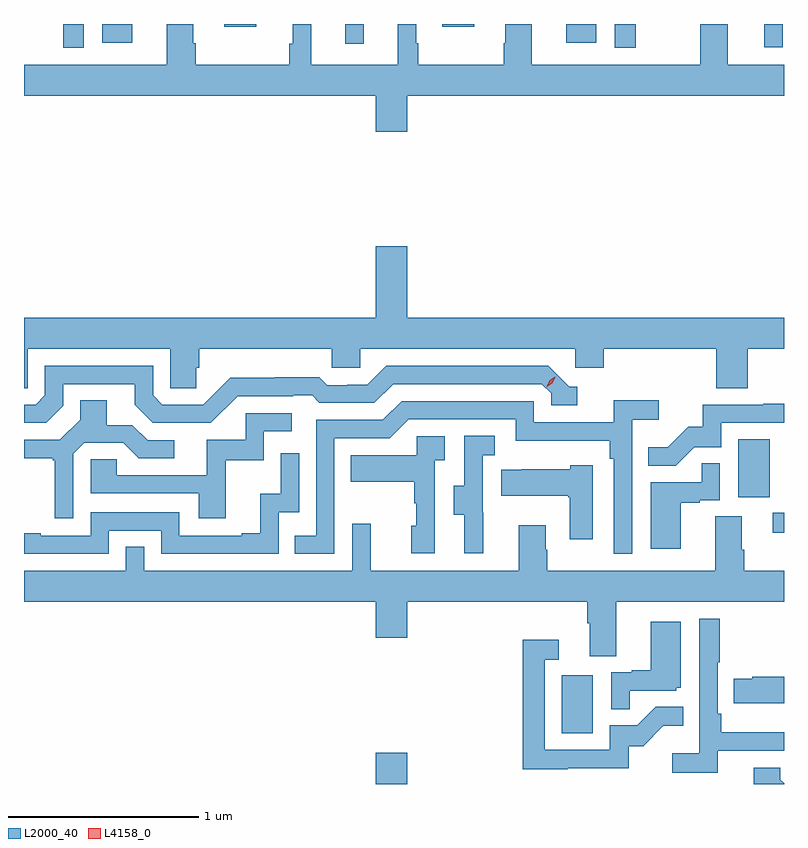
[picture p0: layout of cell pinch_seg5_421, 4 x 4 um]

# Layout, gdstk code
import gdstk
lib = gdstk.Library(unit=1e-6, precision=1e-09)
def R(c, l, rs):  # rectangles x0, y0, x1, y1
    for r in rs: c.add(gdstk.rectangle(r[:2], r[2:], *l))
def P(c, l, *ps):  # polygons
    for p in ps: c.add(gdstk.Polygon(p, *l))
L2000_40 = (2000, 40)
L4158_0 = (4158, 0)

pinch_seg5_421 = lib.new_cell('pinch_seg5_421')
R(pinch_seg5_421, L2000_40, [(956.216,855.802,956.38,855.967), (957.194,856.068,957.358,856.375), (958.305,857.124,958.364,857.229), (958.124,857.31,958.288,857.617), (954.57,859.677,954.678,859.802), (957.474,859.677,957.583,859.802), (958.259,859.68,958.357,859.802), (956.054,859.698,956.151,859.802), (954.776,859.704,954.934,859.802), (957.218,859.704,957.376,859.802), (955.419,859.788,955.587,859.802), (956.565,859.788,956.734,859.802)])
P(pinch_seg5_421, L2000_40, [(955.115,859.802),(955.115,859.588),(954.364,859.588),(954.364,859.424),(956.216,859.424),(956.216,859.236),(956.38,859.236),(956.38,859.424),(958.364,859.424),(958.364,859.588),(958.069,859.588),(958.069,859.802),(957.922,859.802),(957.922,859.588),(957.037,859.588),(957.037,859.802),(956.897,859.802),(956.897,859.7),(956.89,859.7),(956.89,859.588),(956.44,859.588),(956.44,859.7),(956.428,859.7),(956.428,859.802),(956.33,859.802),(956.33,859.588),(955.877,859.588),(955.877,859.802),(955.778,859.802),(955.778,859.697),(955.759,859.697),(955.759,859.588),(955.268,859.588),(955.268,859.7),(955.255,859.7),(955.255,859.802)],
  [(954.384,858.092),(955.134,858.092),(955.134,857.884),(955.271,857.884),(955.271,857.994),(955.286,857.994),(955.286,858.092),(955.983,858.092),(955.983,857.994),(956.133,857.994),(956.133,858.092),(957.264,858.092),(957.264,857.994),(957.416,857.994),(957.416,858.092),(958.007,858.092),(958.007,857.884),(958.172,857.884),(958.172,858.092),(958.364,858.092),(958.364,858.256),(956.38,858.256),(956.38,858.631),(956.216,858.631),(956.216,858.256),(954.364,858.256),(954.364,857.884),(954.384,857.884)],
  [(954.57,857.793),(954.57,857.907),(954.947,857.907),(954.947,857.797),(955.041,857.703),(955.347,857.703),(955.488,857.844),(955.781,857.844),(955.781,857.847),(955.88,857.847),(955.919,857.808),(956.208,857.808),(956.307,857.907),(957.09,857.907),(957.138,857.859),(957.138,857.796),(957.277,857.796),(957.277,857.892),(957.234,857.892),(957.123,858.003),(956.27,858.003),(956.171,857.904),(956.064,857.904),(956.064,857.901),(955.961,857.901),(955.919,857.944),(955.686,857.944),(955.686,857.941),(955.45,857.941),(955.308,857.799),(955.092,857.799),(955.044,857.847),(955.044,858.003),(954.474,858.003),(954.474,857.847),(954.426,857.799),(954.364,857.799),(954.364,857.703),(954.48,857.703)],
  [(954.624,857.541),(954.681,857.598),(954.887,857.598),(954.968,857.517),(955.156,857.517),(955.156,857.61),(955.014,857.61),(954.934,857.69),(954.799,857.69),(954.799,857.822),(954.659,857.822),(954.659,857.72),(954.552,857.613),(954.364,857.613),(954.364,857.516),(954.516,857.516),(954.516,857.505),(954.527,857.505),(954.527,857.202),(954.624,857.202)],
  [(955.998,857.622),(956.289,857.622),(956.388,857.721),(956.952,857.721),(956.952,857.609),(957.448,857.609),(957.448,857.513),(957.468,857.513),(957.468,857.013),(957.564,857.013),(957.564,857.72),(957.706,857.72),(957.706,857.822),(957.467,857.822),(957.467,857.706),(957.048,857.706),(957.048,857.817),(956.351,857.817),(956.252,857.718),(955.902,857.718),(955.902,857.109),(955.789,857.109),(955.789,857.013),(955.998,857.013)],
  [(957.891,857.574),(958.035,857.574),(958.035,857.703),(958.364,857.703),(958.364,857.804),(958.255,857.804),(958.255,857.799),(957.937,857.799),(957.937,857.682),(957.86,857.682),(957.753,857.575),(957.649,857.575),(957.649,857.476),(957.793,857.476)],
  [(955.427,857.505),(955.626,857.505),(955.626,857.658),(955.774,857.658),(955.774,857.754),(955.53,857.754),(955.53,857.613),(955.325,857.613),(955.325,857.427),(954.851,857.427),(954.851,857.511),(954.714,857.511),(954.714,857.331),(955.283,857.331),(955.283,857.202),(955.427,857.202)],
  [(956.78,857.229),(956.778,857.229),(956.778,857.533),(956.842,857.533),(956.842,857.636),(956.682,857.636),(956.682,857.373),(956.627,857.373),(956.627,857.218),(956.681,857.218),(956.681,857.016),(956.78,857.016)],
  [(956.526,857.507),(956.578,857.507),(956.578,857.631),(956.43,857.631),(956.43,857.533),(956.083,857.533),(956.083,857.393),(956.418,857.393),(956.418,857.279),(956.428,857.279),(956.428,857.16),(956.402,857.16),(956.402,857.016),(956.526,857.016)],
  [(954.81,857.136),(955.086,857.136),(955.086,857.013),(955.704,857.013),(955.704,857.232),(955.812,857.232),(955.812,857.542),(955.716,857.542),(955.716,857.33),(955.607,857.33),(955.607,857.122),(955.511,857.122),(955.511,857.109),(955.182,857.109),(955.182,857.232),(954.714,857.232),(954.714,857.109),(954.451,857.109),(954.451,857.122),(954.364,857.122),(954.364,857.013),(954.81,857.013)],
  [(957.82,857.283),(957.92,857.283),(957.92,857.295),(958.026,857.295),(958.026,857.489),(957.931,857.489),(957.931,857.391),(957.662,857.391),(957.662,857.04),(957.82,857.04)],
  [(957.358,857.479),(957.24,857.479),(957.24,857.458),(956.983,857.458),(956.983,857.455),(956.875,857.455),(956.875,857.318),(957.229,857.318),(957.229,857.311),(957.236,857.311),(957.236,857.091),(957.358,857.091)],
  [(957.481,856.76),(958.364,856.76),(958.364,856.924),(958.154,856.924),(958.154,857.036),(958.141,857.036),(958.141,857.21),(958.001,857.21),(958.001,856.924),(957.117,856.924),(957.117,857.036),(957.109,857.036),(957.109,857.164),(956.969,857.164),(956.969,856.924),(956.189,856.924),(956.189,857.173),(956.091,857.173),(956.091,856.924),(954.996,856.924),(954.996,857.051),(954.9,857.051),(954.9,856.924),(954.364,856.924),(954.364,856.76),(956.216,856.76),(956.216,856.572),(956.38,856.572),(956.38,856.76),(957.329,856.76),(957.329,856.648),(957.341,856.648),(957.341,856.474),(957.481,856.474)],
  [(958.016,855.978),(958.364,855.978),(958.364,856.075),(958.034,856.075),(958.034,856.171),(958.014,856.171),(958.014,856.444),(958.027,856.444),(958.027,856.672),(957.918,856.672),(957.918,855.964),(957.777,855.964),(957.777,855.862),(958.016,855.862)],
  [(957.551,856.293),(957.798,856.293),(957.798,856.308),(957.82,856.308),(957.82,856.657),(957.662,856.657),(957.662,856.402),(957.563,856.402),(957.563,856.389),(957.456,856.389),(957.456,856.195),(957.551,856.195)],
  [(957.227,855.885),(957.546,855.885),(957.546,856.002),(957.622,856.002),(957.729,856.109),(957.833,856.109),(957.833,856.208),(957.689,856.208),(957.591,856.11),(957.447,856.11),(957.447,855.981),(957.105,855.981),(957.105,856.455),(957.178,856.455),(957.178,856.561),(956.989,856.561),(956.989,855.88),(957.227,855.88)],
  [(958.364,856.366),(958.197,856.366),(958.197,856.356),(958.099,856.356),(958.099,856.226),(958.364,856.226)],
  [(958.364,855.805),(958.344,855.825),(958.344,855.888),(958.205,855.888),(958.205,855.802),(958.364,855.802)])
P(pinch_seg5_421, L4158_0, [(957.114,857.893),(957.114,857.893),(957.13,857.926),(957.16,857.945),(957.161,857.945),(957.161,857.945),(957.145,857.912),(957.115,857.893)])

lib.write_gds('pinch_seg5_421.gds')
